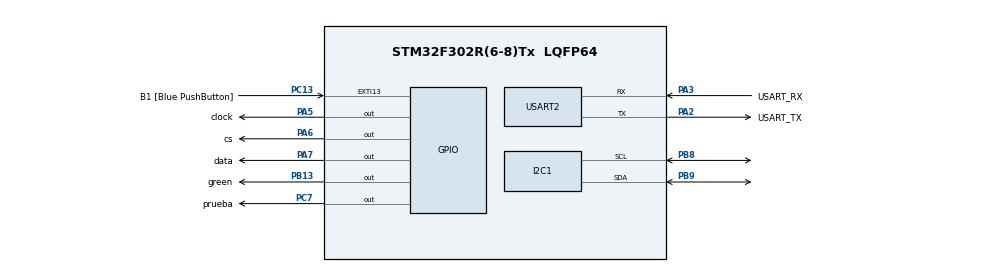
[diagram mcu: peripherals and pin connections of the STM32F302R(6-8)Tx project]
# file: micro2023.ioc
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Mcu.Family=STM32F3
Mcu.Name=STM32F302R(6-8)Tx
Mcu.Package=LQFP64
NVIC.PriorityGroup=NVIC_PRIORITYGROUP_0
PA13.GPIO_Label=TMS
PA13.Mode=Serial_Wire
PA13.Signal=SYS_JTMS-SWDIO
PA14.GPIO_Label=TCK
PA14.Mode=Serial_Wire
PA14.Signal=SYS_JTCK-SWCLK
PA2.GPIO_Label=USART_TX
PA2.GPIO_Mode=GPIO_MODE_AF_PP
PA2.GPIO_PuPd=GPIO_NOPULL
PA2.GPIO_Speed=GPIO_SPEED_FREQ_LOW
PA2.Mode=Asynchronous
PA2.Signal=USART2_TX
PA3.GPIO_Label=USART_RX
PA3.GPIO_Mode=GPIO_MODE_AF_PP
PA3.GPIO_PuPd=GPIO_NOPULL
PA3.GPIO_Speed=GPIO_SPEED_FREQ_LOW
PA3.Mode=Asynchronous
PA3.Signal=USART2_RX
PA5.GPIO_Label=clock
PA5.Signal=GPIO_Output
PA6.GPIO_Label=cs
PA6.Signal=GPIO_Output
PA7.GPIO_Label=data
PA7.Signal=GPIO_Output
PB13.GPIO_Label=green
PB13.GPIO_ModeDefaultOutputPP=GPIO_MODE_OUTPUT_PP
PB13.GPIO_PuPd=GPIO_NOPULL
PB13.Signal=GPIO_Output
PB3.GPIO_Label=SWO
PB3.Mode=Trace_Asynchronous_SW
PB3.Signal=SYS_JTDO-TRACESWO
PB8.Mode=I2C
PB8.Signal=I2C1_SCL
PB9.Mode=I2C
PB9.Signal=I2C1_SDA
PC13.GPIO_Label=B1 [Blue PushButton]
PC13.GPIO_ModeDefaultEXTI=GPIO_MODE_IT_FALLING
PC13.Signal=GPXTI13
PC14\ -\ OSC32_IN.Mode=LSE-External-Oscillator
PC14\ -\ OSC32_IN.Signal=RCC_OSC32_IN
PC15\ -\ OSC32_OUT.Mode=LSE-External-Oscillator
PC15\ -\ OSC32_OUT.Signal=RCC_OSC32_OUT
PC7.GPIO_Label=prueba
PC7.Signal=GPIO_Output
PF0-OSC_IN.Mode=HSE-External-Clock-Source
PF0-OSC_IN.Signal=RCC_OSC_IN
PF1-OSC_OUT.Signal=RCC_OSC_OUT
ProjectManager.HeapSize=0x200
ProjectManager.StackSize=0x400
ProjectManager.TargetToolchain=STM32CubeIDE
RCC.AHBFreq_Value=72000000
RCC.APB1CLKDivider=RCC_HCLK_DIV2
RCC.APB1Freq_Value=36000000
RCC.APB1TimFreq_Value=72000000
RCC.APB2Freq_Value=72000000
RCC.APB2TimFreq_Value=72000000
RCC.CortexFreq_Value=72000000
RCC.HCLKFreq_Value=72000000
RCC.HSE_VALUE=8000000
RCC.HSI_VALUE=8000000
RCC.PLLM=8
RCC.PLLMUL=RCC_PLL_MUL9
RCC.PLLN=336
RCC.PLLP=RCC_PLLP_DIV4
RCC.PLLQ=7
RCC.PLLSourceVirtual=RCC_PLLSOURCE_HSE
RCC.SYSCLKFreq_VALUE=72000000
RCC.SYSCLKSourceVirtual=RCC_SYSCLKSOURCE_PLLCLK
RCC.USBFreq_Value=72000000
USART2.VirtualMode-Asynchronous=VM_ASYNC
board=NUCLEO-F302R8

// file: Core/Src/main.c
/* USER CODE BEGIN Header */
/**
  ******************************************************************************
  * @file           : main.c
  * @brief          : Main program body
  ******************************************************************************
  * @attention
  *
  * Copyright (c) 2023 STMicroelectronics.
  * All rights reserved.
  *
  * This software is licensed under terms that can be found in the LICENSE file
  * in the root directory of this software component.
  * If no LICENSE file comes with this software, it is provided AS-IS.
  *
  ******************************************************************************
  */
/* USER CODE END Header */
#include "main.h"

/* USER CODE BEGIN Includes */
#include "i2c-lcd.h"
#include "max_matrix_stm32.h"
/* USER CODE END Includes */

I2C_HandleTypeDef hi2c1;

UART_HandleTypeDef huart2;

void SystemClock_Config(void);
static void MX_GPIO_Init(void);
static void MX_USART2_UART_Init(void);
static void MX_I2C1_Init(void);

/* USER CODE BEGIN 0 */
void write_byte (uint_t byte)
{
	for (int i = 0; i < 8; i++)
	{
	HAL_GPIO_WritePin(GPIOA, GPIO_Pin_5, 0);// pull the clock pin low
	HAL_GPIO_WritePin(GPIOA, GPIO_Pin_7, byte&0x80);
	byte = byte << 1;
	HAL_GPIO_WritePin(GPIOA, GPIO_Pin_5, 1);// pull the clock pin high
	}
}
void write_max (uint8_t address, uint8_t data)
{
	HAL_GPIO_WritePin(GPIOA, GPIO_Pin_6, 0);
	write_byte (address);
	write_byte (data);
	HAL_GPIO_WritePin(GPIOA, GPIO_Pin_6, 1);
}

void max_init(void)
	{
	 write_max(0x09, 0x00);       //  no decoding
	 write_max(0x0a, 0x03);       //  brightness intensity
	 write_max(0x0b, 0x07);       //  scan limit = 8 LEDs
	 write_max(0x0c, 0x01);       //  power down =0，normal mode = 1
	 write_max(0x0f, 0x00);       //  no test display
	}

/* USER CODE END 0 */

int main(void)
{

  /* MCU Configuration--------------------------------------------------------*/

  /* Reset of all peripherals, Initializes the Flash interface and the Systick. */
  HAL_Init();

  /* USER CODE BEGIN Init */
max_init();
  /* USER CODE END Init */

  /* Configure the system clock */
  SystemClock_Config();

  /* Initialize all configured peripherals */
  MX_GPIO_Init();
  MX_USART2_UART_Init();
  MX_I2C1_Init();

  /* Infinite loop */
  while (1)
  {

    /* USER CODE BEGIN 3 */
	  for (int j = 0; j<38; j++)
	  {
		  for (int i=1;i<9;i++)
		  {write_max(i, display[j][i-1]);
	  }
		  HAL_Delay(700);
  }

  /* USER CODE END 3 */
}

  void SystemClock_Config(void)
{
  RCC_OscInitTypeDef RCC_OscInitStruct = {0};
  RCC_ClkInitTypeDef RCC_ClkInitStruct = {0};
  RCC_PeriphCLKInitTypeDef PeriphClkInit = {0};

  /** Initializes the RCC Oscillators according to the specified parameters
  * in the RCC_OscInitTypeDef structure.
  */
  RCC_OscInitStruct.OscillatorType = RCC_OSCILLATORTYPE_HSI|RCC_OSCILLATORTYPE_HSE;
  RCC_OscInitStruct.HSEState = RCC_HSE_BYPASS;
  RCC_OscInitStruct.HSEPredivValue = RCC_HSE_PREDIV_DIV1;
  RCC_OscInitStruct.HSIState = RCC_HSI_ON;
  RCC_OscInitStruct.HSICalibrationValue = RCC_HSICALIBRATION_DEFAULT;
  RCC_OscInitStruct.PLL.PLLState = RCC_PLL_ON;
  RCC_OscInitStruct.PLL.PLLSource = RCC_PLLSOURCE_HSE;
  RCC_OscInitStruct.PLL.PLLMUL = RCC_PLL_MUL9;
  if (HAL_RCC_OscConfig(&RCC_OscInitStruct) != HAL_OK)
  {
    Error_Handler();
  }

  /** Initializes the CPU, AHB and APB buses clocks
  */
  RCC_ClkInitStruct.ClockType = RCC_CLOCKTYPE_HCLK|RCC_CLOCKTYPE_SYSCLK
                              |RCC_CLOCKTYPE_PCLK1|RCC_CLOCKTYPE_PCLK2;
  RCC_ClkInitStruct.SYSCLKSource = RCC_SYSCLKSOURCE_PLLCLK;
  RCC_ClkInitStruct.AHBCLKDivider = RCC_SYSCLK_DIV1;
  RCC_ClkInitStruct.APB1CLKDivider = RCC_HCLK_DIV2;
  RCC_ClkInitStruct.APB2CLKDivider = RCC_HCLK_DIV1;

  if (HAL_RCC_ClockConfig(&RCC_ClkInitStruct, FLASH_LATENCY_2) != HAL_OK)
  {
    Error_Handler();
  }
  PeriphClkInit.PeriphClockSelection = RCC_PERIPHCLK_I2C1;
  PeriphClkInit.I2c1ClockSelection = RCC_I2C1CLKSOURCE_HSI;
  if (HAL_RCCEx_PeriphCLKConfig(&PeriphClkInit) != HAL_OK)
  {
    Error_Handler();
  }
}

  static void MX_I2C1_Init(void)
{

  hi2c1.Instance = I2C1;
  hi2c1.Init.Timing = 0x2000090E;
  hi2c1.Init.OwnAddress1 = 0;
  hi2c1.Init.AddressingMode = I2C_ADDRESSINGMODE_7BIT;
  hi2c1.Init.DualAddressMode = I2C_DUALADDRESS_DISABLE;
  hi2c1.Init.OwnAddress2 = 0;
  hi2c1.Init.OwnAddress2Masks = I2C_OA2_NOMASK;
  hi2c1.Init.GeneralCallMode = I2C_GENERALCALL_DISABLE;
  hi2c1.Init.NoStretchMode = I2C_NOSTRETCH_DISABLE;
  if (HAL_I2C_Init(&hi2c1) != HAL_OK)
  {
    Error_Handler();
  }

  /** Configure Analogue filter
  */
  if (HAL_I2CEx_ConfigAnalogFilter(&hi2c1, I2C_ANALOGFILTER_ENABLE) != HAL_OK)
  {
    Error_Handler();
  }

  /** Configure Digital filter
  */
  if (HAL_I2CEx_ConfigDigitalFilter(&hi2c1, 0) != HAL_OK)
  {
    Error_Handler();
  }

}

  static void MX_USART2_UART_Init(void)
{

  huart2.Instance = USART2;
  huart2.Init.BaudRate = 38400;
  huart2.Init.WordLength = UART_WORDLENGTH_8B;
  huart2.Init.StopBits = UART_STOPBITS_1;
  huart2.Init.Parity = UART_PARITY_NONE;
  huart2.Init.Mode = UART_MODE_TX_RX;
  huart2.Init.HwFlowCtl = UART_HWCONTROL_NONE;
  huart2.Init.OverSampling = UART_OVERSAMPLING_16;
  huart2.Init.OneBitSampling = UART_ONE_BIT_SAMPLE_DISABLE;
  huart2.AdvancedInit.AdvFeatureInit = UART_ADVFEATURE_NO_INIT;
  if (HAL_UART_Init(&huart2) != HAL_OK)
  {
    Error_Handler();
  }

}

  static void MX_GPIO_Init(void)
{
  GPIO_InitTypeDef GPIO_InitStruct = {0};

  /* GPIO Ports Clock Enable */
  __HAL_RCC_GPIOC_CLK_ENABLE();
  __HAL_RCC_GPIOF_CLK_ENABLE();
  __HAL_RCC_GPIOA_CLK_ENABLE();
  __HAL_RCC_GPIOB_CLK_ENABLE();

  /*Configure GPIO pin Output Level */
  HAL_GPIO_WritePin(GPIOA, clock_Pin|cs_Pin|data_Pin, GPIO_PIN_RESET);

  /*Configure GPIO pin Output Level */
  HAL_GPIO_WritePin(green_GPIO_Port, green_Pin, GPIO_PIN_RESET);

  /*Configure GPIO pin Output Level */
  HAL_GPIO_WritePin(prueba_GPIO_Port, prueba_Pin, GPIO_PIN_RESET);

  /*Configure GPIO pin : B1_Pin */
  GPIO_InitStruct.Pin = B1_Pin;
  GPIO_InitStruct.Mode = GPIO_MODE_IT_FALLING;
  GPIO_InitStruct.Pull = GPIO_NOPULL;
  HAL_GPIO_Init(B1_GPIO_Port, &GPIO_InitStruct);

  /*Configure GPIO pins : clock_Pin cs_Pin data_Pin */
  GPIO_InitStruct.Pin = clock_Pin|cs_Pin|data_Pin;
  GPIO_InitStruct.Mode = GPIO_MODE_OUTPUT_PP;
  GPIO_InitStruct.Pull = GPIO_NOPULL;
  GPIO_InitStruct.Speed = GPIO_SPEED_FREQ_LOW;
  HAL_GPIO_Init(GPIOA, &GPIO_InitStruct);

  /*Configure GPIO pin : green_Pin */
  GPIO_InitStruct.Pin = green_Pin;
  GPIO_InitStruct.Mode = GPIO_MODE_OUTPUT_PP;
  GPIO_InitStruct.Pull = GPIO_NOPULL;
  GPIO_InitStruct.Speed = GPIO_SPEED_FREQ_LOW;
  HAL_GPIO_Init(green_GPIO_Port, &GPIO_InitStruct);

  /*Configure GPIO pin : prueba_Pin */
  GPIO_InitStruct.Pin = prueba_Pin;
  GPIO_InitStruct.Mode = GPIO_MODE_OUTPUT_PP;
  GPIO_InitStruct.Pull = GPIO_NOPULL;
  GPIO_InitStruct.Speed = GPIO_SPEED_FREQ_LOW;
  HAL_GPIO_Init(prueba_GPIO_Port, &GPIO_InitStruct);

}

  void Error_Handler(void)
{
  __disable_irq();
  while (1)
  {
  }
